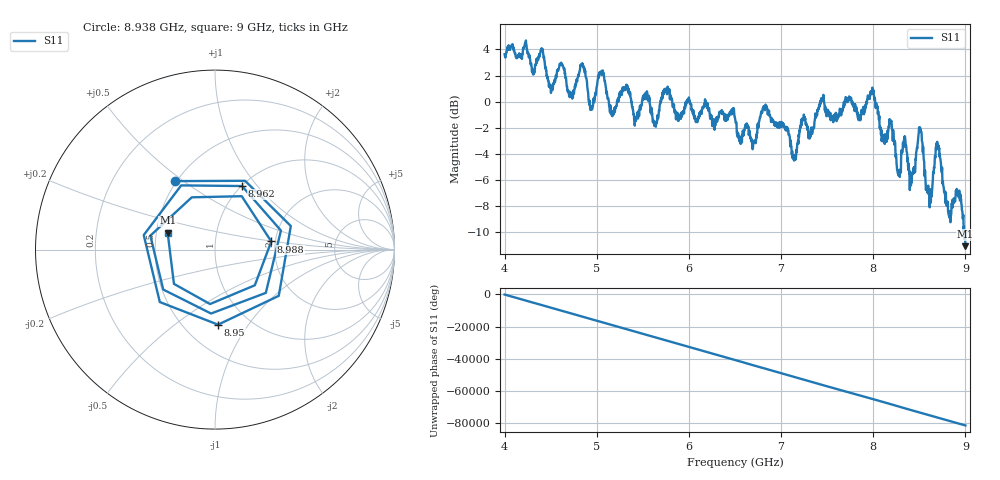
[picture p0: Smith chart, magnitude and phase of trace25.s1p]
! Created with skrf 1.8.0 (http://scikit-rf.org).
# Hz S RI R 50.0
!freq ReS11 ImS11
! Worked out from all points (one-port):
!   1601 points, 4 GHz to 9 GHz, reference 50 ohm
!   lowest |S11| = -11.1 dB at 9 GHz (marker M1), VSWR 1.78, Z = 28.7 + j5.84 ohm
!   |S11| at or under -10 dB: 8.988094 GHz to end of sweep
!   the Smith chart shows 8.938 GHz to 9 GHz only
!   S11 on the Smith chart (normalised r, x): 8.938 GHz: 0.49, +0.47; 8.95 GHz: 0.72, -0.73; 8.962 GHz: 1.01, +0.84; 8.988 GHz: 1.90, +0.19; 9 GHz: 0.57, +0.12
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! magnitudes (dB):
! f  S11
! 4 GHz  3.6
! 4.625 GHz  2.9
! 4.719 GHz  0.4
! 4.85 GHz  2.8
! 4.934 GHz  -0.5
! 5.047 GHz  2.1
! 5.159 GHz  -0.9
! 5.25 GHz  0.7
! 5.875 GHz  -0.8
! 6.5 GHz  -1.3
! 6.703 GHz  -3.1
! 6.828 GHz  -0.3
! 7.125 GHz  -4.3
! 7.438 GHz  0.3
! 7.75 GHz  0.1
! 7.994 GHz  0.6
! 8.275 GHz  -5.7
! 8.375 GHz  -4.3
! 8.422 GHz  -5.6
! 8.509 GHz  -2.0
! 8.6 GHz  -7.0
! 8.697 GHz  -3.3
! 8.819 GHz  -8.7
! 8.938 GHz  -7.1
! 8.95 GHz  -7.6
! 8.962 GHz  -8.3
! 8.988 GHz  -10.0
! 9 GHz  -11.1
